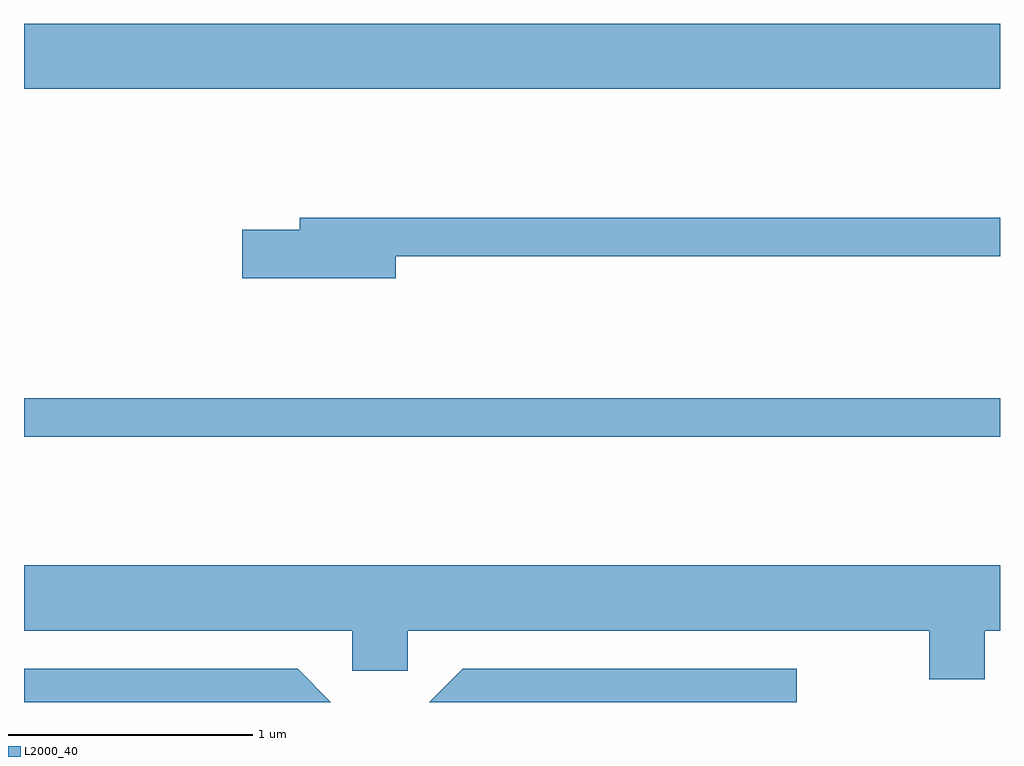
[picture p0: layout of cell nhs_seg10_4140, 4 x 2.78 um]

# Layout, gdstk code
import gdstk
lib = gdstk.Library(unit=1e-6, precision=1e-09)
def R(c, l, rs):  # rectangles x0, y0, x1, y1
    for r in rs: c.add(gdstk.rectangle(r[:2], r[2:], *l))
def P(c, l, *ps):  # polygons
    for p in ps: c.add(gdstk.Polygon(p, *l))
L2000_40 = (2000, 40)

nhs_seg10_4140 = lib.new_cell('nhs_seg10_4140')
R(nhs_seg10_4140, L2000_40, [(307.611,2103.611,311.611,2103.769), (307.611,2105.036,311.611,2105.304)])
P(nhs_seg10_4140, L2000_40, [(309.134,2104.351),(311.611,2104.351),(311.611,2104.509),(308.741,2104.509),(308.741,2104.459),(308.506,2104.459),(308.506,2104.261),(309.134,2104.261)],
  [(311.549,2102.816),(311.611,2102.816),(311.611,2103.084),(307.611,2103.084),(307.611,2102.816),(308.956,2102.816),(308.956,2102.651),(309.184,2102.651),(309.184,2102.816),(311.321,2102.816),(311.321,2102.616),(311.549,2102.616)],
  [(310.779,2102.659),(309.409,2102.659),(309.272,2102.522),(310.779,2102.522)],
  [(308.732,2102.659),(307.611,2102.659),(307.611,2102.522),(308.869,2102.522)])

lib.write_gds('nhs_seg10_4140.gds')
